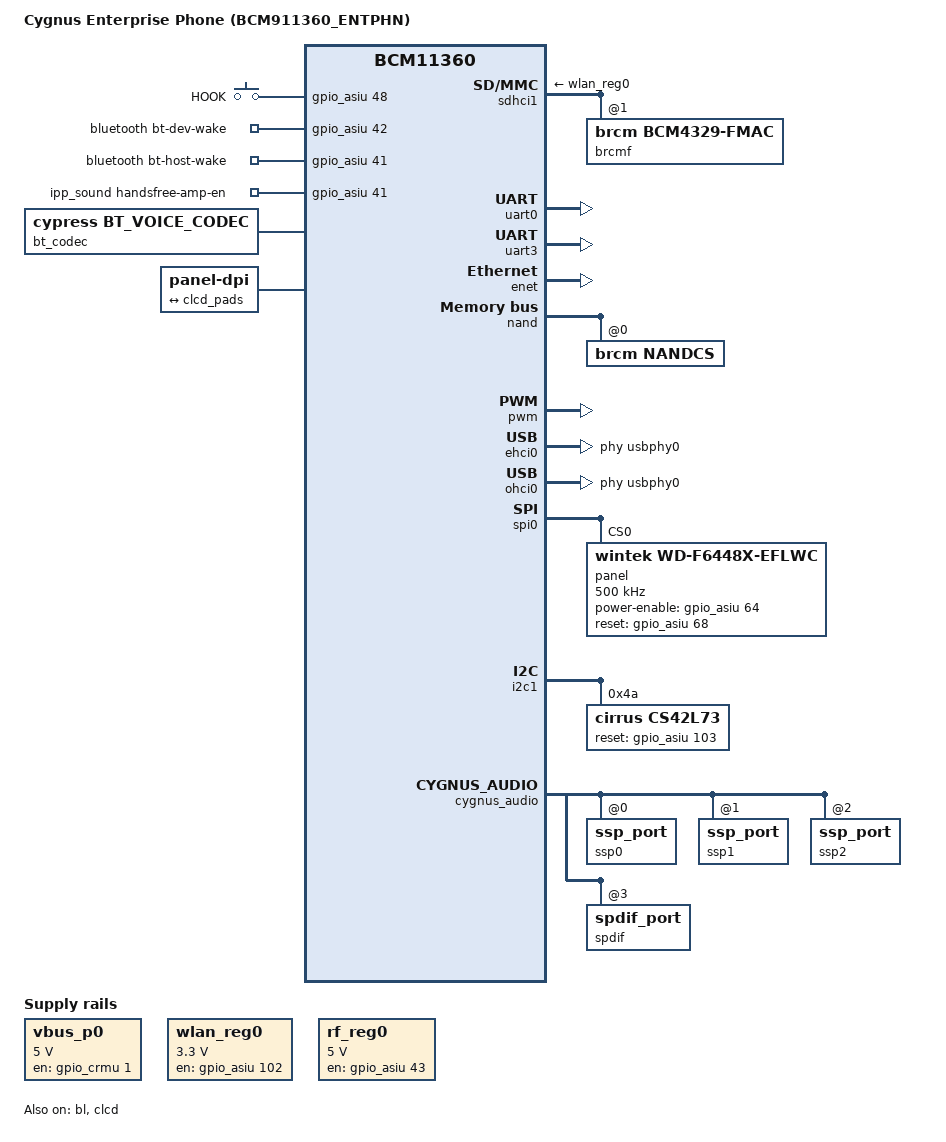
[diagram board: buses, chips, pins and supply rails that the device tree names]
/*
 *  BSD LICENSE
 *
 *  Copyright(c) 2014 Broadcom Corporation.  All rights reserved.
 *
 *  Redistribution and use in source and binary forms, with or without
 *  modification, are permitted provided that the following conditions
 *  are met:
 *
 *    * Redistributions of source code must retain the above copyright
 *      notice, this list of conditions and the following disclaimer.
 *    * Redistributions in binary form must reproduce the above copyright
 *      notice, this list of conditions and the following disclaimer in
 *      the documentation and/or other materials provided with the
 *      distribution.
 *    * Neither the name of Broadcom Corporation nor the names of its
 *      contributors may be used to endorse or promote products derived
 *      from this software without specific prior written permission.
 *
 *  THIS SOFTWARE IS PROVIDED BY THE COPYRIGHT HOLDERS AND CONTRIBUTORS
 *  "AS IS" AND ANY EXPRESS OR IMPLIED WARRANTIES, INCLUDING, BUT NOT
 *  LIMITED TO, THE IMPLIED WARRANTIES OF MERCHANTABILITY AND FITNESS FOR
 *  A PARTICULAR PURPOSE ARE DISCLAIMED. IN NO EVENT SHALL THE COPYRIGHT
 *  OWNER OR CONTRIBUTORS BE LIABLE FOR ANY DIRECT, INDIRECT, INCIDENTAL,
 *  SPECIAL, EXEMPLARY, OR CONSEQUENTIAL DAMAGES (INCLUDING, BUT NOT
 *  LIMITED TO, PROCUREMENT OF SUBSTITUTE GOODS OR SERVICES; LOSS OF USE,
 *  DATA, OR PROFITS; OR BUSINESS INTERRUPTION) HOWEVER CAUSED AND ON ANY
 *  THEORY OF LIABILITY, WHETHER IN CONTRACT, STRICT LIABILITY, OR TORT
 *  (INCLUDING NEGLIGENCE OR OTHERWISE) ARISING IN ANY WAY OUT OF THE USE
 * OF THIS SOFTWARE, EVEN IF ADVISED OF THE POSSIBILITY OF SUCH DAMAGE.
 */

/dts-v1/;

#include "bcm-cygnus.dtsi"
#include "dt-bindings/input/input.h"

/ {
	model = "Cygnus Enterprise Phone (BCM911360_ENTPHN)";
	compatible = "brcm,bcm11360", "brcm,cygnus";

	aliases {
		serial0 = &uart3;
		serial1 = &uart0;
	};

	chosen {
		stdout-path = &uart3;
		bootargs = "console=serial0,115200n8";
	};

	gpio_keys {
		compatible = "gpio-keys";
		#address-cells = <1>;
		#size-cells = <0>;

		hook {
			label = "HOOK";
			linux,code = <KEY_O>;
			gpios = <&gpio_asiu 48 0>;
		};
	};

	vbus_p0: regulator@0 {
		compatible = "regulator-fixed";
		regulator-name = "usb-vbus-p0";
		regulator-min-microvolt = <5000000>;
		regulator-max-microvolt = <5000000>;
		gpio = <&gpio_crmu 1 0>;
		enable-active-high;
		status = "okay";
	};

	wlan_reg0: regulator@1 {
		compatible = "regulator-fixed";
		regulator-name = "wlan-rf-reg0";
		regulator-min-microvolt = <3300000>;
		regulator-max-microvolt = <3300000>;
		gpio = <&gpio_asiu 102 0>;
		enable-active-high;
		regulator-always-on;
	};

	bluetooth {
		compatible = "brcm,bt-rfkill";

		bt-dev-wake-gpio = <&gpio_asiu 42 0>;
		bt-host-wake-gpio = <&gpio_asiu 41 0>;
		brcm,rfkill-regulator = <&rf_reg0>;
	};

	rf_reg0: regulator@2 {
		compatible = "regulator-fixed";
		regulator-name = "bt-rf-reg0";
		regulator-min-microvolt = <5000000>;
		regulator-max-microvolt = <5000000>;
		gpio = <&gpio_asiu 43 0>;
		enable-active-high;
	};

	ipp_sound: ipp_sound {
		compatible = "brcm,bcm911360_entphn-machine";
		brcm,cygnus-pcm = <&cygnus_audio>;

		brcm,handsfree-amp-en-gpio = <&gpio_asiu 41 0>;

		ipp-primary-link {
			format = "i2s";
			bitclock-master = <&dailink0_master>;
			frame-master = <&dailink0_master>;

			dailink0_master: cpu {
				sound-dai = <&cygnus_audio 0>;
			};

			codec {
				sound-dai = <&cs42l73 0>;
			};
		} ;

		ipp-bluetooth-voice-link {
			format = "i2s";
			bitclock-master = <&dailink1_master>;
			frame-master = <&dailink1_master>;

			dailink1_master: cpu {
				sound-dai = <&cygnus_audio 2>;
			};

			codec {
				sound-dai = <&bt_codec>;
			};
		};
	};

	bt_codec: bt_voice_codec {
		#sound-dai-cells = <0>;
		status = "okay";
		compatible = "cypress,bt_voice_codec";

		cypress,bt-voice-link-mode = "i2s";
		cypress,bt-voice-tdm-bps = <2048000>;
	};
};

&sdhci1 {
	status = "okay";
	vmmc-supply = <&wlan_reg0>;
	keep-power-in-suspend;
	wakeup-source;

	#address-cells = <1>;
	#size-cells = <0>;

	brcmf: bcrmf@1 {
		reg = <1>;
		compatible = "brcm,bcm4329-fmac";
		status = "okay";
	};
};

&usbphy0 {
	vbus-p0-supply = <&vbus_p0>;
};

&uart0 {
	dcd-override;
	dsr-override;
	ri-override;
	status = "okay";
};

&uart3 {
	status = "okay";
};

&enet {
	status = "okay";
};

&nand {
	nandcs@1 {
		compatible = "brcm,nandcs";
		reg = <0>;
		nand-on-flash-bbt;

		#address-cells = <1>;
		#size-cells = <1>;

		nand-ecc-strength = <24>;
		nand-ecc-step-size = <1024>;

		brcm,nand-oob-sector-size = <27>;
	};
};

&pwm {
	status = "okay";
};

&bl {
	brightness-levels = <0 16 24 32 50 64 128 255>;
	default-brightness-level = <6>;
	status = "okay";
};

&ehci0 {
	phys = <&usbphy0 0>;
	phy-names = "usbp0";
	status = "okay";
};

&ohci0 {
	phys = <&usbphy0 0>;
	phy-names = "usbp0";
	status = "okay";
};

&spi0 {
	num-cs = <1>;
	status = "okay";

	panel@0 {
		compatible = "wintek,wd-f6448x-eflwc";
		spi-max-frequency = <500000>;
		reg = <0>;
		power-enable-gpio = <&gpio_asiu 64 0>;
		reset-gpio = <&gpio_asiu 68 0>;
	};
};

&mipipll {
	assigned-clocks = <&mipipll 2>, <&mipipll 0>;
	assigned-clock-parents = <&mipipll 0>;
	assigned-clock-rates = <0>, <2100000000>;
};

&clcd {
	clocks =  <&mipipll 2>, <&apb_clk>;
	clcd-clock-select = <1>;
	status = "okay";

	port {
		clcd_pads: endpoint {
			remote-endpoint = <&clcd_panel>;
			arm,pl11x,tft-r0g0b0-pads = <0 8 16>;
		};
	};

	panel {
		compatible = "panel-dpi";
		port {
			clcd_panel: endpoint {
				remote-endpoint = <&clcd_pads>;
			};
		};

		panel-timing {
			clock-frequency = <27000000>;
			hactive = <640>;
			hback-porch = <140>;
			hfront-porch = <60>;
			hsync-len = <70>;
			vactive = <480>;
			vback-porch = <33>;
			vfront-porch = <5>;
			vsync-len = <3>;
			vsync-active = <1>;
			hsync-active = <1>;
			pixelclk-active = <1>;
		};
	};
};

&pinctrl {
	pinctrl-names = "default";
	pinctrl-0 = <&i2s0_default_mux &i2s1_default_mux &i2s2_default_mux>;
};

&i2c1 {
	status = "okay";
	cs42l73: cs42l73@4A {
		#sound-dai-cells = <1>;
		compatible = "cirrus,cs42l73";
		reg = <0x4a>;
		reset-gpio = <&gpio_asiu 103 0>;
	};
};

&cygnus_audio {
	#sound-dai-cells = <1>;

	ssp0: ssp_port@0 {
		status = "okay";
	};

	ssp1: ssp_port@1 {
		status = "okay";
	};

	ssp2: ssp_port@2 {
		status = "okay";
	};

	spdif: spdif_port@3 {
		status = "okay";
	};
};
